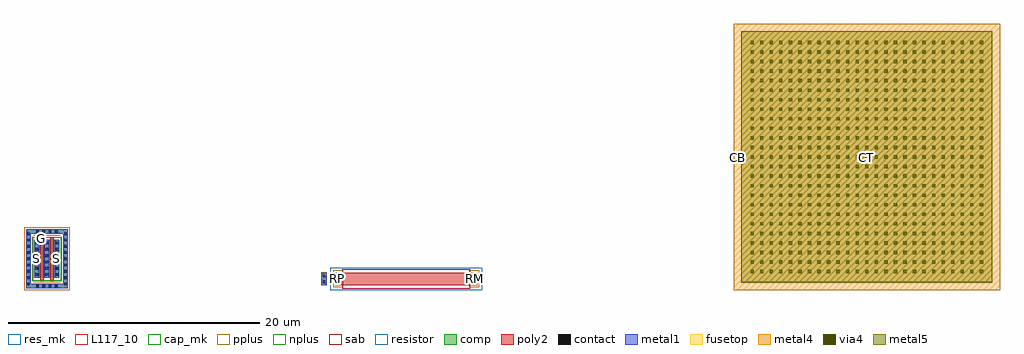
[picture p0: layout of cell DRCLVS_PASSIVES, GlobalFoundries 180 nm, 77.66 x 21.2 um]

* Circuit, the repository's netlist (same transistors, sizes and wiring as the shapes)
* drclvs_passives -- generated by layout/drclvs.py from layout/passives/drclvs_passives.sch
* LVS reference netlist (xschem lvs_netlist form). Do not edit: edit
* the schematic and re-run the export.
* 2 passive device line(s) rendered as primitive R/C
* elements by layout/lvs_form.py -- the PDK's resistor and MIM-cap
* symbols carry no lvs_format attribute (issue #313).
** sch_path: layout/passives/drclvs_passives.sch
.subckt drclvs_passives RP RM CT CB D G S VSS
*.PININFO RP:B RM:B CT:B CB:B D:B G:I S:B VSS:B
R1 RM RP VSS ppolyf_u_1k l=10u w=1u m=1
C1 CT CB cap_mim_2f0fF c_length=20u c_width=20u m=1
M1 D G S VSS nfet_03v3 L=0.28u W=6u nf=2 m=1
.ends

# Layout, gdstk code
import gdstk
lib = gdstk.Library(unit=1e-6, precision=1e-09)
def R(c, l, rs):  # rectangles x0, y0, x1, y1
    for r in rs: c.add(gdstk.rectangle(r[:2], r[2:], *l))
def A(c, l, x, y, w, h, nx, ny, dx, dy):  # array of equal rectangles
    R(c, l, [(x+i*dx, y+j*dy, x+i*dx+w, y+j*dy+h) for i in range(nx) for j in range(ny)])
def P(c, l, *ps):  # polygons
    for p in ps: c.add(gdstk.Polygon(p, *l))
comp = (22, 0)
poly2 = (30, 0)
pplus = (31, 0)
nplus = (32, 0)
contact = (33, 0)
metal1 = (34, 0)
via4 = (41, 0)
metal4 = (46, 0)
sab = (49, 0)
resistor = (62, 0)
fusetop = (75, 0)
metal5 = (81, 0)
res_mk = (110, 5)
cap_mk = (117, 5)
L117_10 = (117, 10)

drclvs_passives = lib.new_cell('DRCLVS_PASSIVES')
R(drclvs_passives, comp, [(23.66,0.4,24.08,1.4), (0.84,1,2.8,4)])
P(drclvs_passives, comp, [(0.16,0.16),(0.16,4.48),(0.52,4.48),(0.52,0.52),(3.12,0.52),(3.12,4.48),(0.16,4.48),(0.16,4.84),(3.48,4.84),(3.48,0.16)])
R(drclvs_passives, poly2, [(24.78,0.4,36.06,1.4), (1.28,0.78,1.56,4.22), (2.08,0.78,2.36,4.22)])
R(drclvs_passives, pplus, [(24.6,0.22,25.42,1.58), (35.42,0.22,36.24,1.58), (23.64,0.38,24.1,1.42)])
P(drclvs_passives, pplus, [(0,0),(0,4.32),(0.68,4.32),(0.68,0.68),(2.96,0.68),(2.96,4.32),(0,4.32),(0,5),(3.64,5),(3.64,0)])
R(drclvs_passives, nplus, [(0.68,0.77,2.96,4.23)])
A(drclvs_passives, contact, 0.96, 0.23, 0.22, 0.22, 4, 2, 0.5, 4.32)
A(drclvs_passives, contact, 0.23, 0.39, 0.22, 0.22, 1, 9, 0, 0.5)
A(drclvs_passives, contact, 3.19, 0.39, 0.22, 0.22, 1, 9, 0, 0.5)
A(drclvs_passives, contact, 0.91, 1.14, 0.22, 0.22, 3, 6, 0.8, 0.5)
R(drclvs_passives, contact, [(23.76,0.555,23.98,0.775), (24.85,0.555,25.07,0.775), (35.77,0.555,35.99,0.775), (23.76,1.025,23.98,1.245), (24.85,1.025,25.07,1.245), (35.77,1.025,35.99,1.245)])
A(drclvs_passives, metal1, 0.83, 0.99, 0.38, 3.02, 3, 1, 0.8, 0)
R(drclvs_passives, metal1, [(23.66,0.4,24.08,1.4), (24.79,0.41,25.13,1.39), (35.71,0.41,36.05,1.39)])
P(drclvs_passives, metal1, [(0.16,0.16),(0.16,4.48),(0.52,4.48),(0.52,0.52),(3.12,0.52),(3.12,4.48),(0.16,4.48),(0.16,4.84),(3.48,4.84),(3.48,0.16)])
A(drclvs_passives, via4, 57.81, 1.35, 0.26, 0.26, 25, 25, 0.76, 0.76)
R(drclvs_passives, metal4, [(56.46,0,77.66,21.2)])
R(drclvs_passives, sab, [(25.32,0.12,35.52,1.68)])
R(drclvs_passives, resistor, [(24.38,0,36.46,1.8)])
R(drclvs_passives, fusetop, [(57.06,0.6,77.06,20.6)])
R(drclvs_passives, metal5, [(57.06,0.6,77.06,20.6)])
R(drclvs_passives, res_mk, [(25.42,0.4,35.42,1.4)])
R(drclvs_passives, cap_mk, [(56.46,0,77.66,21.2)])
R(drclvs_passives, L117_10, [(57.06,0.6,77.06,0.7)])
drclvs_passives.add(gdstk.Label('S', (1.02,2.5), layer=34, texttype=10))
drclvs_passives.add(gdstk.Label('D', (1.82,2.5), layer=34, texttype=10))
drclvs_passives.add(gdstk.Label('S', (2.62,2.5), layer=34, texttype=10))
drclvs_passives.add(gdstk.Label('VSS', (0.34,2.5), layer=34, texttype=10))
drclvs_passives.add(gdstk.Label('RP', (24.96,0.9), layer=34, texttype=10))
drclvs_passives.add(gdstk.Label('RM', (35.88,0.9), layer=34, texttype=10))
drclvs_passives.add(gdstk.Label('G', (1.42,4.12), layer=30, texttype=10))
drclvs_passives.add(gdstk.Label('G', (2.22,4.12), layer=30, texttype=10))
drclvs_passives.add(gdstk.Label('CT', (67.06,10.6), layer=81, texttype=10))
drclvs_passives.add(gdstk.Label('CB', (56.76,10.6), layer=46, texttype=10))

lib.write_gds('DRCLVS_PASSIVES.gds')
